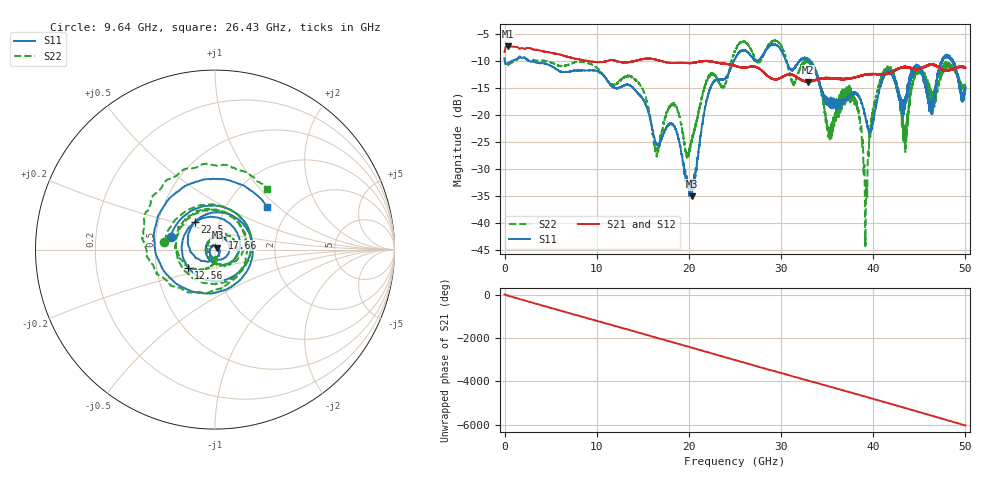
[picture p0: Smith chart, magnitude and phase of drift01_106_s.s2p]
!Created with skrf (http://scikit-rf.org).
# Hz S RI R 50.0
!freq ReS11 ImS11 ReS21 ImS21 ReS12 ImS12 ReS22 ImS22
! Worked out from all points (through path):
!   10001 points, 300 kHz to 50 GHz, reference 50 ohm
!   highest |S21| = -7.33 dB at 325.3 MHz (marker M1); lowest = -14.0 dB at 32.87 GHz (marker M2)
!   group delay of S21, straight-line fit = 335 ps
!   lowest |S11| = -35.0 dB at 20.33 GHz (marker M3), VSWR 1.04, Z = 51.3 + j1.19 ohm
!   |S11| at or under -10 dB: 2.553 GHz to 24.9 GHz (22.35 GHz wide, 163 % of centre); 30.52 GHz to 32.01 GHz (1.49 GHz wide, 4.77 % of centre); 33.07 GHz to 47.44 GHz (14.37 GHz wide, 35.7 % of centre) (the widest 3 of 19)
!   |S22| runs from -44.3 to -6.3 dB; largest |S21 - S12| = 0.01
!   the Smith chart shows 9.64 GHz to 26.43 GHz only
!   S11 on the Smith chart (normalised r, x): 9.64 GHz: 0.60, +0.09; 12.56 GHz: 0.73, -0.15; 17.66 GHz: 1.07, +0.15; 22.5 GHz: 0.77, +0.24; 26.43 GHz: 1.54, +0.85
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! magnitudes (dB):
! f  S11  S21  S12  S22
! 300 kHz  -9.6  -8.4  -8.5  -9.4
! 325.3 MHz  -10.5  -7.3  -7.3  -10.9
! 8.335 GHz  -11.8  -9.9  -9.8  -10.2
! 9.64 GHz  -11.8  -10.2  -10.2  -10.9
! 12.56 GHz  -14.9  -10.3  -10.3  -13.6
! 16.67 GHz  -25.7  -9.9  -9.9  -27.1
! 17.66 GHz  -22.2  -10.3  -10.4  -19.6
! 20.33 GHz  -35.0  -10.4  -10.4  -24.8
! 22.5 GHz  -14.5  -10.2  -10.2  -12.6
! 25 GHz  -9.6  -11.0  -11.0  -8.4
! 26.43 GHz  -8.5  -11.2  -11.2  -7.1
! 32.87 GHz  -9.7  -14.0  -13.9  -9.8
! 33.34 GHz  -10.7  -13.8  -13.7  -10.5
! 35.25 GHz  -17.7  -13.2  -13.3  -23.3
! 37.99 GHz  -15.9  -13.1  -13.1  -17.1
! 39.17 GHz  -20.6  -12.6  -12.6  -41.3
! 40.14 GHz  -19.8  -12.5  -12.5  -18.0
! 41.67 GHz  -11.9  -12.3  -12.4  -12.3
! 43.45 GHz  -17.8  -11.3  -11.3  -25.4
! 44.88 GHz  -11.5  -11.6  -11.6  -11.9
! 46.27 GHz  -19.7  -10.8  -10.7  -16.7
! 50 GHz  -15.3  -11.4  -11.3  -15.0
